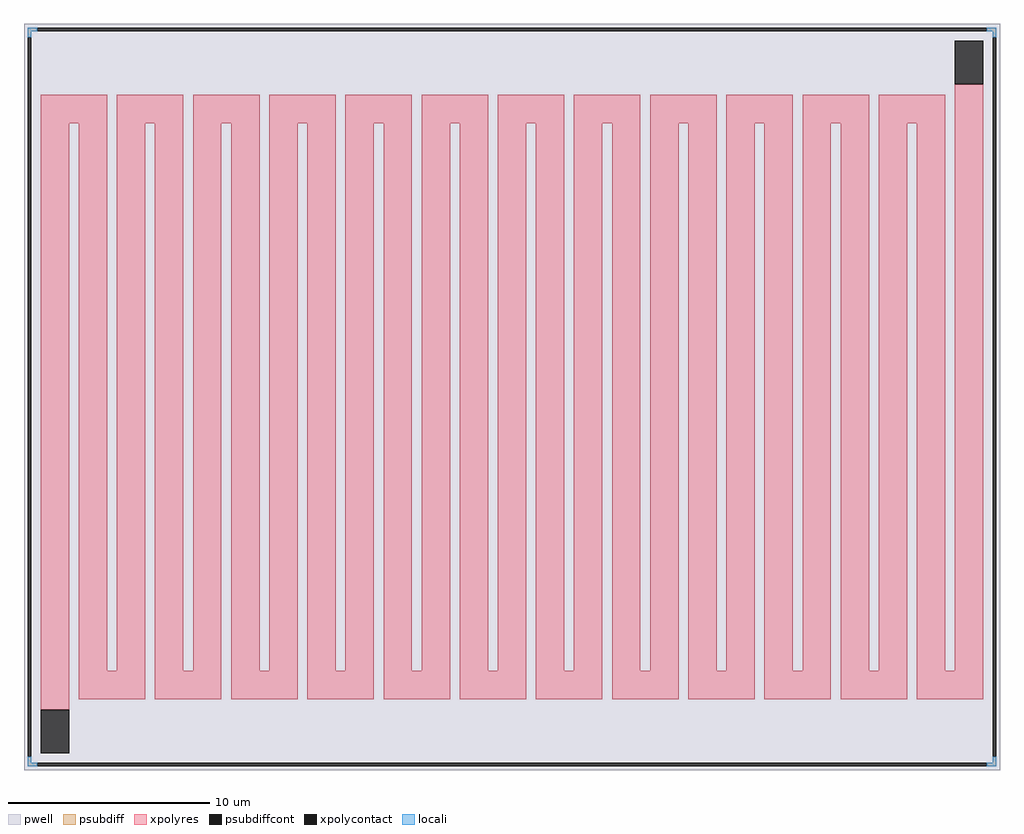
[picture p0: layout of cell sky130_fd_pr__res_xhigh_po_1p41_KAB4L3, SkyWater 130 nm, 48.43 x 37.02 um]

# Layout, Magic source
magic
tech sky130A
magscale 1 2
<< pwell >>
rect -4843 -3702 4843 3702
<< psubdiff >>
rect -4807 3632 -4711 3666
rect 4711 3632 4807 3666
rect -4807 3570 -4773 3632
rect 4773 3570 4807 3632
rect -4807 -3632 -4773 -3570
rect 4773 -3632 4807 -3570
rect -4807 -3666 -4711 -3632
rect 4711 -3666 4807 -3632
<< psubdiffcont >>
rect -4711 3632 4711 3666
rect -4807 -3570 -4773 3570
rect 4773 -3570 4807 3570
rect -4711 -3666 4711 -3632
<< xpolycontact >>
rect 4395 3104 4677 3536
rect -4677 -3536 -4395 -3104
<< xpolyres >>
rect -4677 2718 -4017 3000
rect -4677 -3104 -4395 2718
rect -4299 -2718 -4017 2718
rect -3921 2718 -3261 3000
rect -3921 -2718 -3639 2718
rect -4299 -3000 -3639 -2718
rect -3543 -2718 -3261 2718
rect -3165 2718 -2505 3000
rect -3165 -2718 -2883 2718
rect -3543 -3000 -2883 -2718
rect -2787 -2718 -2505 2718
rect -2409 2718 -1749 3000
rect -2409 -2718 -2127 2718
rect -2787 -3000 -2127 -2718
rect -2031 -2718 -1749 2718
rect -1653 2718 -993 3000
rect -1653 -2718 -1371 2718
rect -2031 -3000 -1371 -2718
rect -1275 -2718 -993 2718
rect -897 2718 -237 3000
rect -897 -2718 -615 2718
rect -1275 -3000 -615 -2718
rect -519 -2718 -237 2718
rect -141 2718 519 3000
rect -141 -2718 141 2718
rect -519 -3000 141 -2718
rect 237 -2718 519 2718
rect 615 2718 1275 3000
rect 615 -2718 897 2718
rect 237 -3000 897 -2718
rect 993 -2718 1275 2718
rect 1371 2718 2031 3000
rect 1371 -2718 1653 2718
rect 993 -3000 1653 -2718
rect 1749 -2718 2031 2718
rect 2127 2718 2787 3000
rect 2127 -2718 2409 2718
rect 1749 -3000 2409 -2718
rect 2505 -2718 2787 2718
rect 2883 2718 3543 3000
rect 2883 -2718 3165 2718
rect 2505 -3000 3165 -2718
rect 3261 -2718 3543 2718
rect 3639 2718 4299 3000
rect 3639 -2718 3921 2718
rect 3261 -3000 3921 -2718
rect 4017 -2718 4299 2718
rect 4395 -2718 4677 3104
rect 4017 -3000 4677 -2718
<< locali >>
rect -4807 3632 -4711 3666
rect 4711 3632 4807 3666
rect -4807 3570 -4773 3632
rect 4773 3570 4807 3632
rect -4807 -3632 -4773 -3570
rect 4773 -3632 4807 -3570
rect -4807 -3666 -4711 -3632
rect 4711 -3666 4807 -3632
<< properties >>
string FIXED_BBOX -4790 -3649 4790 3649
string gencell sky130_fd_pr__res_xhigh_po_1p41
string library sky130
string parameters w 1.41 l 30.0 m 1 nx 25 wmin 1.410 lmin 0.50 rho 2000 val 1.112meg dummy 0 dw 0.0 term 188.2 sterm 0.0 caplen 0 wmax 1.410 guard 1 glc 1 grc 1 gtc 1 gbc 1 compatible {sky130_fd_pr__res_xhigh_po_0p35  sky130_fd_pr__res_xhigh_po_0p69 sky130_fd_pr__res_xhigh_po_1p41  sky130_fd_pr__res_xhigh_po_2p85 sky130_fd_pr__res_xhigh_po_5p73} snake 1 full_metal 1 n_guard 0 hv_guard 0 vias 1 viagb 0 viagt 0 viagl 0 viagr 0
<< end >>
